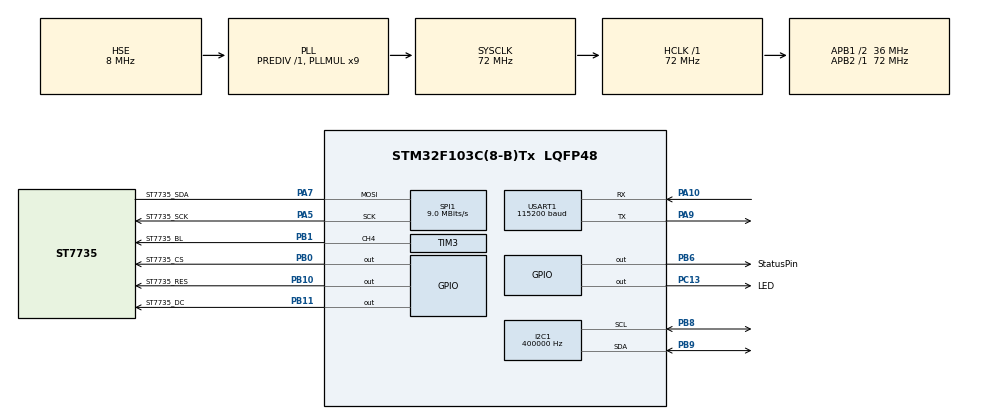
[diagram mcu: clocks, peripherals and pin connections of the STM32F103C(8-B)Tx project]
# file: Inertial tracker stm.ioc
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Dma.I2C1_RX.1.Direction=DMA_PERIPH_TO_MEMORY
Dma.I2C1_RX.1.Instance=DMA1_Channel7
Dma.I2C1_RX.1.MemDataAlignment=DMA_MDATAALIGN_BYTE
Dma.I2C1_RX.1.MemInc=DMA_MINC_ENABLE
Dma.I2C1_RX.1.Mode=DMA_NORMAL
Dma.I2C1_RX.1.PeriphDataAlignment=DMA_PDATAALIGN_BYTE
Dma.I2C1_RX.1.PeriphInc=DMA_PINC_DISABLE
Dma.I2C1_RX.1.Priority=DMA_PRIORITY_VERY_HIGH
Dma.Request0=USART1_TX
Dma.Request1=I2C1_RX
Dma.Request2=SPI1_TX
Dma.SPI1_TX.2.Direction=DMA_MEMORY_TO_PERIPH
Dma.SPI1_TX.2.Instance=DMA1_Channel3
Dma.SPI1_TX.2.MemDataAlignment=DMA_MDATAALIGN_BYTE
Dma.SPI1_TX.2.MemInc=DMA_MINC_ENABLE
Dma.SPI1_TX.2.Mode=DMA_NORMAL
Dma.SPI1_TX.2.PeriphDataAlignment=DMA_PDATAALIGN_BYTE
Dma.SPI1_TX.2.PeriphInc=DMA_PINC_DISABLE
Dma.SPI1_TX.2.Priority=DMA_PRIORITY_LOW
Dma.USART1_TX.0.Direction=DMA_MEMORY_TO_PERIPH
Dma.USART1_TX.0.Instance=DMA1_Channel4
Dma.USART1_TX.0.MemDataAlignment=DMA_MDATAALIGN_BYTE
Dma.USART1_TX.0.MemInc=DMA_MINC_ENABLE
Dma.USART1_TX.0.Mode=DMA_NORMAL
Dma.USART1_TX.0.PeriphDataAlignment=DMA_PDATAALIGN_BYTE
Dma.USART1_TX.0.PeriphInc=DMA_PINC_DISABLE
Dma.USART1_TX.0.Priority=DMA_PRIORITY_LOW
I2C1.AddressingMode=I2C_ADDRESSINGMODE_7BIT
I2C1.ClockSpeed=400000
I2C1.DualAddressMode=I2C_DUALADDRESS_DISABLE
I2C1.GeneralCallMode=I2C_GENERALCALL_DISABLE
I2C1.I2C_Mode=I2C_Fast
I2C1.NoStretchMode=I2C_NOSTRETCH_DISABLE
I2C1.OwnAddress=0
Mcu.Family=STM32F1
Mcu.Name=STM32F103C(8-B)Tx
Mcu.Package=LQFP48
NVIC.DMA1_Channel3_IRQn=true\:0\:0\:false\:false\:true\:false\:true\:true
NVIC.DMA1_Channel4_IRQn=true\:0\:0\:false\:false\:true\:false\:true\:true
NVIC.DMA1_Channel7_IRQn=true\:0\:0\:false\:false\:true\:false\:true\:true
NVIC.I2C1_ER_IRQn=true\:0\:0\:false\:false\:true\:true\:true\:true
NVIC.I2C1_EV_IRQn=true\:0\:0\:false\:false\:true\:true\:true\:true
NVIC.PriorityGroup=NVIC_PRIORITYGROUP_4
NVIC.SPI1_IRQn=true\:0\:0\:false\:false\:true\:true\:true\:true
NVIC.TIM4_IRQn=true\:15\:0\:false\:false\:true\:true\:true\:true
NVIC.USART1_IRQn=true\:0\:0\:false\:false\:true\:true\:true\:true
PA10.Mode=Asynchronous
PA10.Signal=USART1_RX
PA13.Mode=Serial_Wire
PA13.Signal=SYS_JTMS-SWDIO
PA14.Mode=Serial_Wire
PA14.Signal=SYS_JTCK-SWCLK
PA5.GPIO_Label=ST7735_SCK
PA5.Mode=Simplex_Bidirectional_Master
PA5.Signal=SPI1_SCK
PA7.GPIO_Label=ST7735_SDA
PA7.Mode=Simplex_Bidirectional_Master
PA7.Signal=SPI1_MOSI
PA9.Mode=Asynchronous
PA9.Signal=USART1_TX
PB0.GPIO_Label=ST7735_CS
PB0.GPIO_Speed=GPIO_SPEED_FREQ_HIGH
PB0.Signal=GPIO_Output
PB1.GPIO_Label=ST7735_BL
PB1.Signal=S_TIM3_CH4
PB10.GPIO_Label=ST7735_RES
PB10.GPIO_Speed=GPIO_SPEED_FREQ_HIGH
PB10.Signal=GPIO_Output
PB11.GPIO_Label=ST7735_DC
PB11.GPIO_Speed=GPIO_SPEED_FREQ_HIGH
PB11.Signal=GPIO_Output
PB6.GPIO_Label=StatusPin
PB6.GPIO_PuPd=GPIO_PULLUP
PB6.GPIO_Speed=GPIO_SPEED_FREQ_HIGH
PB6.Signal=GPIO_Output
PB8.Mode=I2C
PB8.Signal=I2C1_SCL
PB9.Mode=I2C
PB9.Signal=I2C1_SDA
PC13-TAMPER-RTC.GPIO_Label=LED
PC13-TAMPER-RTC.GPIO_ModeDefaultOutputPP=GPIO_MODE_OUTPUT_OD
PC13-TAMPER-RTC.Signal=GPIO_Output
PD0-OSC_IN.Mode=HSE-External-Oscillator
PD0-OSC_IN.Signal=RCC_OSC_IN
PD1-OSC_OUT.Mode=HSE-External-Oscillator
PD1-OSC_OUT.Signal=RCC_OSC_OUT
ProjectManager.HeapSize=0x200
ProjectManager.StackSize=0x400
ProjectManager.TargetToolchain=MDK-ARM V5.27
RCC.AHBFreq_Value=72000000
RCC.APB1CLKDivider=RCC_HCLK_DIV2
RCC.APB1Freq_Value=36000000
RCC.APB1TimFreq_Value=72000000
RCC.APB2Freq_Value=72000000
RCC.APB2TimFreq_Value=72000000
RCC.FLatency=FLASH_LATENCY_2
RCC.HCLKFreq_Value=72000000
RCC.PLLMUL=RCC_PLL_MUL9
RCC.PLLSourceVirtual=RCC_PLLSOURCE_HSE
RCC.SYSCLKFreq_VALUE=72000000
RCC.SYSCLKSource=RCC_SYSCLKSOURCE_PLLCLK
RCC.USBFreq_Value=48000000
RCC.USBPrescaler=RCC_USBCLKSOURCE_PLL_DIV1_5
SH.S_TIM3_CH4.0=TIM3_CH4,PWM Generation4 CH4
SPI1.BaudRatePrescaler=SPI_BAUDRATEPRESCALER_8
SPI1.CalculateBaudRate=9.0 MBits/s
SPI1.Direction=SPI_DIRECTION_1LINE
SPI1.Mode=SPI_MODE_MASTER
SPI1.VirtualType=VM_MASTER
TIM3.Channel-PWM\ Generation4\ CH4=TIM_CHANNEL_4
TIM3.ClockDivision=TIM_CLOCKDIVISION_DIV4
TIM3.Period=10
TIM3.Prescaler=11811
TIM4.AutoReloadPreload=TIM_AUTORELOAD_PRELOAD_DISABLE
TIM4.ClockDivision=TIM_CLOCKDIVISION_DIV1
TIM4.CounterMode=TIM_COUNTERMODE_UP
TIM4.Period=1000
TIM4.Prescaler=47
TIM4.TIM_MasterOutputTrigger=TIM_TRGO_RESET
TIM4.TIM_MasterSlaveMode=TIM_MASTERSLAVEMODE_DISABLE
USART1.BaudRate=115200
USART1.Mode=MODE_TX_RX
USART1.Parity=PARITY_NONE
USART1.StopBits=STOPBITS_1
USART1.VirtualMode=VM_ASYNC
USART1.WordLength=WORDLENGTH_8B
VP_TIM3_VS_ClockSourceINT.Mode=Internal
VP_TIM4_VS_ClockSourceINT.Mode=Internal
board=custom

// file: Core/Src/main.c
/* USER CODE BEGIN Header */
/**
  ******************************************************************************
  * @file           : main.c
  * @brief          : Main program body
  ******************************************************************************
  * @attention
  *
  * Copyright (c) 2022 STMicroelectronics.
  * All rights reserved.
  *
  * This software is licensed under terms that can be found in the LICENSE file
  * in the root directory of this software component.
  * If no LICENSE file comes with this software, it is provided AS-IS.
  *
  ******************************************************************************
  */
	  /*
   * 	PINOUT
   * 	PA10 -> terminal TX
   * 	PA9	 -> terminal RX
   * 	PB9  -> IMU SDA
   * 	PB8  -> IMU SCL
   *
   * 	UART parameters
   * 	baud 115200
   **/
/* USER CODE END Header */
#include "main.h"

/* USER CODE BEGIN Includes */
#include <stdio.h>
#include <string.h>
#include <math.h>
#include "MPU9255.h"
#include "MATRIX.h"
#include "MICROS.h"

#include "st7735.h"
#include "st7735_test.h"
#include "stdbool.h"
#include "ctype.h"
#include "Common.h"
/* USER CODE END Includes */

/* USER CODE BEGIN PTD */
typedef struct
{
	float x, y;
	int16_t r, c;
}balltype;
/* USER CODE END PTD */

I2C_HandleTypeDef hi2c1;
DMA_HandleTypeDef hdma_i2c1_rx;

SPI_HandleTypeDef hspi1;
DMA_HandleTypeDef hdma_spi1_tx;

TIM_HandleTypeDef htim3;
TIM_HandleTypeDef htim4;

UART_HandleTypeDef huart1;
DMA_HandleTypeDef hdma_usart1_tx;

/* USER CODE BEGIN PV */
float ACx, ACy, ACz, GYx, GYy, GYz, MAGx, MAGy, MAGz, accTotal, gyroTotal, magTotal;
uint8_t accGyroMagOverload;
const uint16_t PCazimuth = 345;
balltype ball, ballclean;

struct microsPeriod cyclePeriod = {0, 0},
										accGyroPeriod = {0, 0};
/* USER CODE END PV */

void SystemClock_Config(void);
static void MX_GPIO_Init(void);
static void MX_DMA_Init(void);
static void MX_I2C1_Init(void);
static void MX_USART1_UART_Init(void);
static void MX_TIM4_Init(void);
static void MX_SPI1_Init(void);
static void MX_TIM3_Init(void);
/* USER CODE BEGIN PFP */
void transmitBasis(float* floatArray, uint32_t time, uint8_t overload);

void initState(struct matrix *basis, struct matrix *gravity, struct matrix* north);
void restoreVertical(struct matrix* bas, struct matrix* grav, struct matrix* acc);
void initScreen();
void initBall();
void renewConcentricLines();
void moveBall(float x, float y, balltype *ball);

float xMoveTo=0, yMoveTo=0;
/* USER CODE END PFP */

int main(void)
{

  /* MCU Configuration--------------------------------------------------------*/

  /* Reset of all peripherals, Initializes the Flash interface and the Systick. */
  HAL_Init();

  /* Configure the system clock */
  SystemClock_Config();

  /* Initialize all configured peripherals */
  MX_GPIO_Init();
  MX_DMA_Init();
  MX_I2C1_Init();
  MX_USART1_UART_Init();
  MX_TIM4_Init();
  MX_SPI1_Init();
  MX_TIM3_Init();
  /* USER CODE BEGIN 2 */
	microsInit(&htim4, 72000000);	// start micros timer

	// startup the sensor, assign pointers of ACC, GYRO, MAG and overload flag variables
	MPU9255setup(&hi2c1, &ACx, &ACy, &ACz, &GYx, &GYy, &GYz, &MAGx, &MAGy, &MAGz, &accGyroMagOverload);

	struct matrix accVec,	gyroVec, magVec, rotMatrix, basis, gravityVec, northVec, velocityVec, coordinate;

	matrixZeroes(&accVec , 3, 1);
	matrixZeroes(&gyroVec , 3, 1);
	matrixZeroes(&magVec , 3, 1);
	matrixZeroes(&rotMatrix , 3, 3);
	matrixEye(&basis, 3);
	matrixZeroes(&gravityVec, 3,1);
	matrixZeroes(&northVec, 3, 1);
	matrixZeroes(&velocityVec, 3,1);
	matrixZeroes(&coordinate, 3, 1);

	matrixSE(&northVec, 0, 0, 1);
	matrixRotZ(&northVec, PCazimuth);
	// indication before the ongoing calibration. Sensor should be kept still!
	HAL_Delay(500);
	for(uint8_t v = 0; v<10; v++){
		HAL_GPIO_TogglePin(LED_GPIO_Port, LED_Pin);
		HAL_Delay(150);
	}
	HAL_GPIO_WritePin(LED_GPIO_Port, LED_Pin, GPIO_PIN_RESET);
	HAL_Delay(1000);
	HAL_GPIO_WritePin(LED_GPIO_Port, LED_Pin, GPIO_PIN_SET);

	initState(&basis, &gravityVec, &northVec);

	ST7735_Init(Displ_Orientat_270);
	ST7735_SetBacklight('I');
	ST7735_SetBacklight('F');

	initScreen();
	initBall();
	renewConcentricLines();

	ST7735_DrawLine(3,3, 13, 3, ST7735_RED);
	ST7735_DrawLine(3,3, 3, 18, ST7735_RED);
	ST7735_FillCircle(3, 3, 2, ST7735_RED);

  /* USER CODE END 2 */

  /* Infinite loop */
  /* USER CODE BEGIN WHILE */
	microsStart(&accGyroPeriod);
  while (1)//////////////////////////////////////////////////////////////////////////////////////////
  {
		static uint32_t ledToggleCnt = 0;
		HAL_GPIO_TogglePin(StatusPin_GPIO_Port, StatusPin_Pin);

		MPU9255_cycle(micros());

		if( MPU9255_ACC_GYRO_isReady() == 1){
			struct matrix ds;
			float periodS;

			matrixSE(&accVec, 0, 0, ACx);
			matrixSE(&accVec, 1, 0, ACy);
			matrixSE(&accVec, 2, 0, ACz);
			accTotal = matrixVecLen(&accVec);

			microsUpdate(&accGyroPeriod);
			periodS = (float) accGyroPeriod.period/1000000;
			GYx = GYx * periodS;
			GYy = GYy * periodS;
			GYz = GYz * periodS;

			matrixRot3D(&rotMatrix, GYx, GYy, GYz);
			matrixMultiply(&basis, &rotMatrix, &basis);

			matrixMultiply(&basis, &accVec, &accVec);
			restoreVertical(&basis, &gravityVec, &accVec);
			matrixSum(&accVec, &gravityVec, &accVec);

/*			if ( fabs(matrixVecLen(&accVec)) > 0.5){
				matrixZeroes(&ds, 3, 1);
				matrixMultiplyByNumb(&velocityVec, &ds, periodS);
				matrixSum(&coordinate, &ds, &coordinate);
				matrixMultiplyByNumb(&accVec, &ds, pow(periodS, 2)/2);
				matrixSum(&coordinate, &ds, &coordinate);
				matrixMultiplyByNumb(&accVec, &ds, periodS);
				matrixSum(&velocityVec, &ds, &velocityVec);
			} else
				matrixZeroes(&velocityVec, 3, 1);*/
		}
		if( MPU9255_MAG_isReady() == 1){
			matrixSE(&magVec, 0, 0, MAGx);
			matrixSE(&magVec, 1, 0, MAGy);
			matrixSE(&magVec, 2, 0, MAGz);
			magTotal = matrixVecLen(&magVec);
		}

		transmitBasis(basis.arr, micros(), accGyroMagOverload);

		if(ledToggleCnt == 10000){// I hope this can indicate the load of the CPU
				HAL_GPIO_TogglePin(LED_GPIO_Port, LED_Pin);
				ledToggleCnt = 0;
		}
		ledToggleCnt++;

		moveBall(basis.arr[7], basis.arr[6], &ball);

		microsUpdate(&cyclePeriod);
    /* USER CODE END WHILE */

    /* USER CODE BEGIN 3 */
		}////////////////////////////////////////////////////////////////////////////////////////////////
  /* USER CODE END 3 */
}

void SystemClock_Config(void)
{
  RCC_OscInitTypeDef RCC_OscInitStruct = {0};
  RCC_ClkInitTypeDef RCC_ClkInitStruct = {0};

  /** Initializes the RCC Oscillators according to the specified parameters
  * in the RCC_OscInitTypeDef structure.
  */
  RCC_OscInitStruct.OscillatorType = RCC_OSCILLATORTYPE_HSE;
  RCC_OscInitStruct.HSEState = RCC_HSE_ON;
  RCC_OscInitStruct.HSEPredivValue = RCC_HSE_PREDIV_DIV1;
  RCC_OscInitStruct.HSIState = RCC_HSI_ON;
  RCC_OscInitStruct.PLL.PLLState = RCC_PLL_ON;
  RCC_OscInitStruct.PLL.PLLSource = RCC_PLLSOURCE_HSE;
  RCC_OscInitStruct.PLL.PLLMUL = RCC_PLL_MUL9;
  if (HAL_RCC_OscConfig(&RCC_OscInitStruct) != HAL_OK)
  {
    Error_Handler();
  }

  /** Initializes the CPU, AHB and APB buses clocks
  */
  RCC_ClkInitStruct.ClockType = RCC_CLOCKTYPE_HCLK|RCC_CLOCKTYPE_SYSCLK
                              |RCC_CLOCKTYPE_PCLK1|RCC_CLOCKTYPE_PCLK2;
  RCC_ClkInitStruct.SYSCLKSource = RCC_SYSCLKSOURCE_PLLCLK;
  RCC_ClkInitStruct.AHBCLKDivider = RCC_SYSCLK_DIV1;
  RCC_ClkInitStruct.APB1CLKDivider = RCC_HCLK_DIV2;
  RCC_ClkInitStruct.APB2CLKDivider = RCC_HCLK_DIV1;

  if (HAL_RCC_ClockConfig(&RCC_ClkInitStruct, FLASH_LATENCY_2) != HAL_OK)
  {
    Error_Handler();
  }
}

static void MX_I2C1_Init(void)
{

  hi2c1.Instance = I2C1;
  hi2c1.Init.ClockSpeed = 400000;
  hi2c1.Init.DutyCycle = I2C_DUTYCYCLE_2;
  hi2c1.Init.OwnAddress1 = 0;
  hi2c1.Init.AddressingMode = I2C_ADDRESSINGMODE_7BIT;
  hi2c1.Init.DualAddressMode = I2C_DUALADDRESS_DISABLE;
  hi2c1.Init.OwnAddress2 = 0;
  hi2c1.Init.GeneralCallMode = I2C_GENERALCALL_DISABLE;
  hi2c1.Init.NoStretchMode = I2C_NOSTRETCH_DISABLE;
  if (HAL_I2C_Init(&hi2c1) != HAL_OK)
  {
    Error_Handler();
  }

}

static void MX_SPI1_Init(void)
{

  /* SPI1 parameter configuration*/
  hspi1.Instance = SPI1;
  hspi1.Init.Mode = SPI_MODE_MASTER;
  hspi1.Init.Direction = SPI_DIRECTION_1LINE;
  hspi1.Init.DataSize = SPI_DATASIZE_8BIT;
  hspi1.Init.CLKPolarity = SPI_POLARITY_LOW;
  hspi1.Init.CLKPhase = SPI_PHASE_1EDGE;
  hspi1.Init.NSS = SPI_NSS_SOFT;
  hspi1.Init.BaudRatePrescaler = SPI_BAUDRATEPRESCALER_8;
  hspi1.Init.FirstBit = SPI_FIRSTBIT_MSB;
  hspi1.Init.TIMode = SPI_TIMODE_DISABLE;
  hspi1.Init.CRCCalculation = SPI_CRCCALCULATION_DISABLE;
  hspi1.Init.CRCPolynomial = 10;
  if (HAL_SPI_Init(&hspi1) != HAL_OK)
  {
    Error_Handler();
  }

}

static void MX_TIM3_Init(void)
{

  TIM_ClockConfigTypeDef sClockSourceConfig = {0};
  TIM_MasterConfigTypeDef sMasterConfig = {0};
  TIM_OC_InitTypeDef sConfigOC = {0};

  htim3.Instance = TIM3;
  htim3.Init.Prescaler = 11811;
  htim3.Init.CounterMode = TIM_COUNTERMODE_UP;
  htim3.Init.Period = 10;
  htim3.Init.ClockDivision = TIM_CLOCKDIVISION_DIV4;
  htim3.Init.AutoReloadPreload = TIM_AUTORELOAD_PRELOAD_DISABLE;
  if (HAL_TIM_Base_Init(&htim3) != HAL_OK)
  {
    Error_Handler();
  }
  sClockSourceConfig.ClockSource = TIM_CLOCKSOURCE_INTERNAL;
  if (HAL_TIM_ConfigClockSource(&htim3, &sClockSourceConfig) != HAL_OK)
  {
    Error_Handler();
  }
  if (HAL_TIM_PWM_Init(&htim3) != HAL_OK)
  {
    Error_Handler();
  }
  sMasterConfig.MasterOutputTrigger = TIM_TRGO_RESET;
  sMasterConfig.MasterSlaveMode = TIM_MASTERSLAVEMODE_DISABLE;
  if (HAL_TIMEx_MasterConfigSynchronization(&htim3, &sMasterConfig) != HAL_OK)
  {
    Error_Handler();
  }
  sConfigOC.OCMode = TIM_OCMODE_PWM1;
  sConfigOC.Pulse = 0;
  sConfigOC.OCPolarity = TIM_OCPOLARITY_HIGH;
  sConfigOC.OCFastMode = TIM_OCFAST_DISABLE;
  if (HAL_TIM_PWM_ConfigChannel(&htim3, &sConfigOC, TIM_CHANNEL_4) != HAL_OK)
  {
    Error_Handler();
  }
  HAL_TIM_MspPostInit(&htim3);

}

static void MX_TIM4_Init(void)
{

  TIM_ClockConfigTypeDef sClockSourceConfig = {0};
  TIM_MasterConfigTypeDef sMasterConfig = {0};

  htim4.Instance = TIM4;
  htim4.Init.Prescaler = 47;
  htim4.Init.CounterMode = TIM_COUNTERMODE_UP;
  htim4.Init.Period = 1000;
  htim4.Init.ClockDivision = TIM_CLOCKDIVISION_DIV1;
  htim4.Init.AutoReloadPreload = TIM_AUTORELOAD_PRELOAD_DISABLE;
  if (HAL_TIM_Base_Init(&htim4) != HAL_OK)
  {
    Error_Handler();
  }
  sClockSourceConfig.ClockSource = TIM_CLOCKSOURCE_INTERNAL;
  if (HAL_TIM_ConfigClockSource(&htim4, &sClockSourceConfig) != HAL_OK)
  {
    Error_Handler();
  }
  sMasterConfig.MasterOutputTrigger = TIM_TRGO_RESET;
  sMasterConfig.MasterSlaveMode = TIM_MASTERSLAVEMODE_DISABLE;
  if (HAL_TIMEx_MasterConfigSynchronization(&htim4, &sMasterConfig) != HAL_OK)
  {
    Error_Handler();
  }

}

static void MX_USART1_UART_Init(void)
{

  huart1.Instance = USART1;
  huart1.Init.BaudRate = 115200;
  huart1.Init.WordLength = UART_WORDLENGTH_8B;
  huart1.Init.StopBits = UART_STOPBITS_1;
  huart1.Init.Parity = UART_PARITY_NONE;
  huart1.Init.Mode = UART_MODE_TX_RX;
  huart1.Init.HwFlowCtl = UART_HWCONTROL_NONE;
  huart1.Init.OverSampling = UART_OVERSAMPLING_16;
  if (HAL_UART_Init(&huart1) != HAL_OK)
  {
    Error_Handler();
  }

}

static void MX_DMA_Init(void)
{

  /* DMA controller clock enable */
  __HAL_RCC_DMA1_CLK_ENABLE();

  /* DMA interrupt init */
  /* DMA1_Channel3_IRQn interrupt configuration */
  HAL_NVIC_SetPriority(DMA1_Channel3_IRQn, 0, 0);
  HAL_NVIC_EnableIRQ(DMA1_Channel3_IRQn);
  /* DMA1_Channel4_IRQn interrupt configuration */
  HAL_NVIC_SetPriority(DMA1_Channel4_IRQn, 0, 0);
  HAL_NVIC_EnableIRQ(DMA1_Channel4_IRQn);
  /* DMA1_Channel7_IRQn interrupt configuration */
  HAL_NVIC_SetPriority(DMA1_Channel7_IRQn, 0, 0);
  HAL_NVIC_EnableIRQ(DMA1_Channel7_IRQn);

}

static void MX_GPIO_Init(void)
{
  GPIO_InitTypeDef GPIO_InitStruct = {0};

  /* GPIO Ports Clock Enable */
  __HAL_RCC_GPIOC_CLK_ENABLE();
  __HAL_RCC_GPIOD_CLK_ENABLE();
  __HAL_RCC_GPIOA_CLK_ENABLE();
  __HAL_RCC_GPIOB_CLK_ENABLE();

  /*Configure GPIO pin Output Level */
  HAL_GPIO_WritePin(LED_GPIO_Port, LED_Pin, GPIO_PIN_RESET);

  /*Configure GPIO pin Output Level */
  HAL_GPIO_WritePin(GPIOB, ST7735_CS_Pin|ST7735_RES_Pin|ST7735_DC_Pin|StatusPin_Pin, GPIO_PIN_RESET);

  /*Configure GPIO pin : LED_Pin */
  GPIO_InitStruct.Pin = LED_Pin;
  GPIO_InitStruct.Mode = GPIO_MODE_OUTPUT_OD;
  GPIO_InitStruct.Pull = GPIO_NOPULL;
  GPIO_InitStruct.Speed = GPIO_SPEED_FREQ_LOW;
  HAL_GPIO_Init(LED_GPIO_Port, &GPIO_InitStruct);

  /*Configure GPIO pins : ST7735_CS_Pin ST7735_RES_Pin ST7735_DC_Pin */
  GPIO_InitStruct.Pin = ST7735_CS_Pin|ST7735_RES_Pin|ST7735_DC_Pin;
  GPIO_InitStruct.Mode = GPIO_MODE_OUTPUT_PP;
  GPIO_InitStruct.Pull = GPIO_NOPULL;
  GPIO_InitStruct.Speed = GPIO_SPEED_FREQ_HIGH;
  HAL_GPIO_Init(GPIOB, &GPIO_InitStruct);

  /*Configure GPIO pin : StatusPin_Pin */
  GPIO_InitStruct.Pin = StatusPin_Pin;
  GPIO_InitStruct.Mode = GPIO_MODE_OUTPUT_PP;
  GPIO_InitStruct.Pull = GPIO_PULLUP;
  GPIO_InitStruct.Speed = GPIO_SPEED_FREQ_HIGH;
  HAL_GPIO_Init(StatusPin_GPIO_Port, &GPIO_InitStruct);

}

/* USER CODE BEGIN 4 */
// this fcn is needed to orient the MPU sensor
void initState(struct matrix *basis, struct matrix *gravity, struct matrix* north){
	struct matrix	rotVec, Rinit, acc, imGravity, magInit;
	float c, s, lx, ly, lz, theta;
	uint8_t magCnt = 0;

	matrixZeroes(&rotVec, 3,1);
	matrixZeroes(&Rinit, 3,3);
	matrixZeroes(&acc, 3,1);
	matrixZeroes(&imGravity, 3,1);
	matrixZeroes(&magInit, 3, 1);
	// acquisition ACC GYRO MAG meawurements
	for(uint8_t i = 0; i < 100; i++){
		while ( MPU9255_cycle(micros()) && 1<<0 == 0)
			HAL_Delay(1);

		while (MPU9255_ACC_GYRO_isReady() == 0){
			HAL_Delay(1);
			MPU9255_cycle(micros());
		}

		acc.arr[0] += ACx;
		acc.arr[1] += ACy;
		acc.arr[2] += ACz;
		if (MPU9255_MAG_isReady()){
			magInit.arr[0] += MAGx;
			magInit.arr[1] += MAGy;
			magInit.arr[2] += MAGz;
			magCnt ++;
		}
	}
	//// vertical alignment
	matrixMultiplyByNumb(&acc, gravity, -0.01);
	imGravity.arr[2] = -matrixVecLen(gravity);
	matrixCross(gravity, &imGravity, &rotVec);
	matrixNormVec(&rotVec, &rotVec);

	theta = acos(matrixDot(gravity, &imGravity)/(matrixVecLen(&imGravity)*matrixVecLen(gravity)));
	matrixRotArbVec(&Rinit, &rotVec, theta);

	matrixMultiply(&Rinit, basis , basis);
	matrixMultiply(basis, gravity, gravity);

	//// azimuth alignment
/*	matrixMultiplyByNumb(&magInit, &magInit, (float) 1/magCnt);
	matrixMultiply(basis, &magInit, &magInit);
	magInit.arr[2] = 0;
	matrixNormVec(&magInit, &magInit);
	theta = -matrixVecAzimuth(north, &magInit);

	matrixSE(&Rinit,	0,	0, cos(theta));
	matrixSE(&Rinit,	0,	1, -sin(theta));
	matrixSE(&Rinit,	0,	2, 0);
	matrixSE(&Rinit,	1,	0, sin(theta));
	matrixSE(&Rinit,	1,	1, cos(theta));
	matrixSE(&Rinit,	1,	2, 0);
	matrixSE(&Rinit,	2,	0, 0);
	matrixSE(&Rinit,	2,	1, 0);
	matrixSE(&Rinit,	2,	2, 1);

	matrixMultiply(&Rinit, basis , basis);*/
}
// transmits array of vectors and sensor overload flag to PC via COM
void transmitBasis(float* floatArray, uint32_t time, uint8_t overload){
	static uint32_t prewTime;
	if(time - prewTime < 30000) return;

	static uint8_t data[10];

	prewTime = time;
	for(uint8_t i = 0; i<9; i++){
		data[i] = (int8_t) (floatArray[i]*100);
	}
	data[9] = overload;

	HAL_UART_Transmit_DMA(&huart1, data, 10);
}
// allign vertical orientation to mitigate drift of gyro sensors or after a loss of angles due to overload
void restoreVertical(struct matrix* bas, struct matrix* grav, struct matrix* acc){
	struct matrix	rotVec, Rinit;
	float accLen, angle;

	matrixZeroes(&rotVec, 3,1);
	matrixZeroes(&Rinit, 3,3);
	accLen = matrixVecLen(acc);

	if( accLen > 9.8 && accLen <  10.2){
		matrixCross(acc, grav, &rotVec);
		matrixNormVec(&rotVec, &rotVec);
		angle = -acos(-matrixDot(acc, grav)/(accLen*matrixVecLen(grav)));
		if( angle < -0.03 || angle > 0.03){
			matrixRotArbVec(&Rinit, &rotVec, angle/50);
			matrixMultiply(&Rinit, bas, bas);
		}
	}
}

void initScreen(){
	ST7735_FillScreen(ST7735_BLACK);
	ST7735_DrawLine(0, 0, 158, 0, ST7735_CYAN);
	ST7735_DrawLine(0, 0, 0, 128, ST7735_CYAN);
	ST7735_DrawLine(0, 125, 158, 125, ST7735_CYAN);
	ST7735_DrawLine(158, 0, 158, 128, ST7735_CYAN);
}

void initBall(){
	ball.x = 0;
	ball.y = 0;
	ball.r = BALL_RADIUS;
	ball.c = ST7735_CYAN;
	ST7735_FillCircle(ball.x+CIRCLE_CENTER_X, ball.y+CIRCLE_CENTER_Y, ball.r, ball.c);
}

void renewConcentricLines(){
	ST7735_DrawCircle(CIRCLE_CENTER_X, CIRCLE_CENTER_Y, CIRCLE_SMALL_R, ST7735_RED);
	ST7735_DrawCircle(CIRCLE_CENTER_X, CIRCLE_CENTER_Y, CIRCLE_BIG_R, ST7735_RED);
	ST7735_DrawCircle(CIRCLE_CENTER_X, CIRCLE_CENTER_Y, CIRCLE_BIG_R+BALL_RADIUS-1, ST7735_RED);
//	ST7735_DrawCircle(CIRCLE_CENTER_X, CIRCLE_CENTER_Y, CIRCLE_BIG_R+BALL_RADIUS, ST7735_RED);
	ST7735_DrawCircle(CIRCLE_CENTER_X, CIRCLE_CENTER_Y, BALL_RADIUS+1, ST7735_RED);
	ST7735_DrawLine(CIRCLE_CENTER_X+BALL_RADIUS+1, CIRCLE_CENTER_Y, CIRCLE_CENTER_X + 40, CIRCLE_CENTER_Y, ST7735_RED);
	ST7735_DrawLine(CIRCLE_CENTER_X-BALL_RADIUS-1, CIRCLE_CENTER_Y, CIRCLE_CENTER_X - 40, CIRCLE_CENTER_Y, ST7735_RED);
	ST7735_DrawLine(CIRCLE_CENTER_X, CIRCLE_CENTER_Y+BALL_RADIUS+1, CIRCLE_CENTER_X, CIRCLE_CENTER_Y + 40, ST7735_RED);
	ST7735_DrawLine(CIRCLE_CENTER_X, CIRCLE_CENTER_Y-BALL_RADIUS-1, CIRCLE_CENTER_X, CIRCLE_CENTER_Y - 40, ST7735_RED);
}

void moveBall(float x, float y, balltype *ball){
	const float velProp = 1.5;
	static float xTarget, yTarget, xPrev, yPrev, R2 = CIRCLE_BIG_R*CIRCLE_BIG_R, xVel, yVel,\
		xBallPrev=0, yBallPrev=0;
	float r;
	static uint8_t displayCnt=0;
	static uint64_t drawPeriodPrev, calcPeriodPrev, calcPeriodPeriod;

	if(micros()-drawPeriodPrev>80000 && (xBallPrev != ball->x || yBallPrev != ball->y)){
		drawPeriodPrev = micros();

		ST7735_FillCircle(xBallPrev+CIRCLE_CENTER_X, yBallPrev+CIRCLE_CENTER_Y, ball->r, ST7735_BLACK);
		ST7735_FillCircle(ball->x+CIRCLE_CENTER_X, ball->y+CIRCLE_CENTER_Y, ball->r, ball->c);
		renewConcentricLines();
		xBallPrev = ball->x;
		yBallPrev = ball->y;
		displayCnt=0;
	}

	if( fabs(x-xPrev)<0.005 && fabs(y-yPrev)<0.005 && fabs(xVel) < 0.5 && fabs(yVel) < 0.5  || micros() - calcPeriodPrev < 1000)  return;
	xPrev = x;
	yPrev = y;

	calcPeriodPeriod = (uint32_t)(micros() - calcPeriodPrev);
	calcPeriodPrev = micros();

	x*=360;
	y*=360;

	ball->x += xVel * ((float)calcPeriodPeriod)/1000000;
	ball->y += yVel * ((float)calcPeriodPeriod)/1000000;
	r = ball->x*ball->x + ball->y*ball->y;
	if (r > R2){
		r=sqrt(r);
		ball->y*=CIRCLE_BIG_R/r;
		ball->x*=CIRCLE_BIG_R/r;
		r=R2;
	}

	if(r==R2 && fabs(y/x*ball->x-ball->y)<0.02 && x*x+y*y>R2 && ball->x*x>=0 && ball->y*y>=0){
		xVel = 0;
		yVel = 0;
	}
	else{
		xVel = velProp*(x-ball->x);
		yVel = velProp*(y-ball->y);
	}
}

/* USER CODE END 4 */

void Error_Handler(void)
{
  __disable_irq();
  while (1)
  {
  }
}
